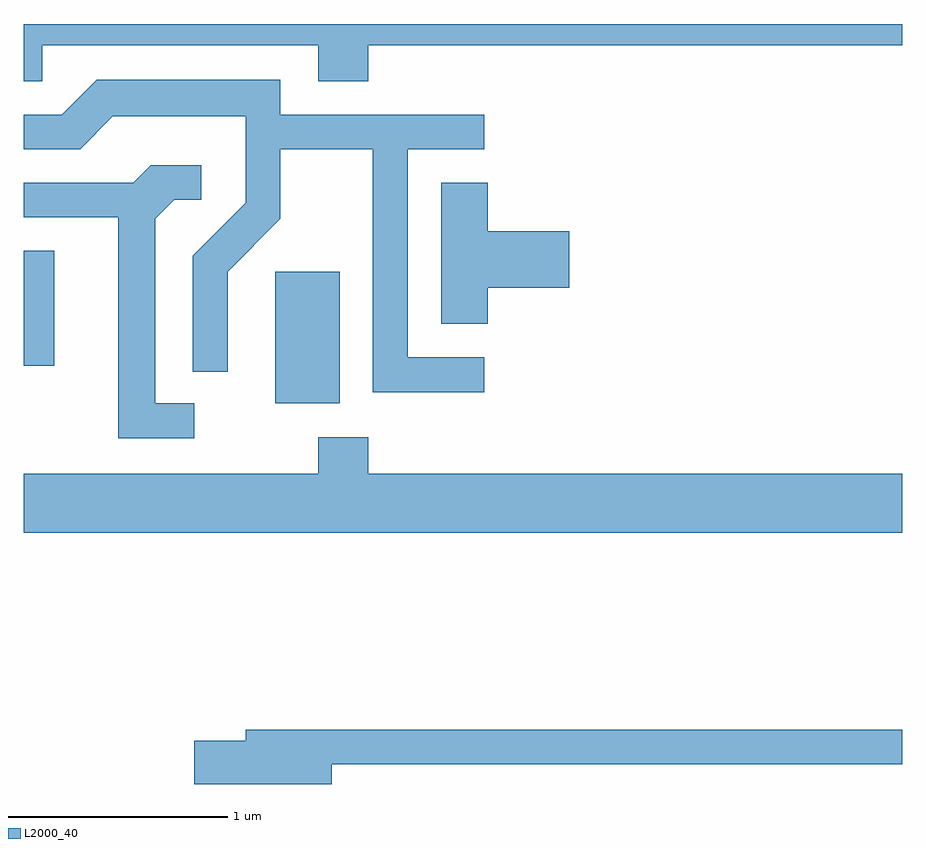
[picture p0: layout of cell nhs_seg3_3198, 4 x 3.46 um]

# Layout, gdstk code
import gdstk
lib = gdstk.Library(unit=1e-6, precision=1e-09)
def R(c, l, rs):  # rectangles x0, y0, x1, y1
    for r in rs: c.add(gdstk.rectangle(r[:2], r[2:], *l))
def P(c, l, *ps):  # polygons
    for p in ps: c.add(gdstk.Polygon(p, *l))
L2000_40 = (2000, 40)

nhs_seg3_3198 = lib.new_cell('nhs_seg3_3198')
R(nhs_seg3_3198, L2000_40, [(280.756,1122.166,281.049,1122.764), (279.611,1122.336,279.749,1122.859)])
P(nhs_seg3_3198, L2000_40, [(279.694,1123.796),(280.951,1123.796),(280.951,1123.631),(281.179,1123.631),(281.179,1123.796),(283.611,1123.796),(283.611,1123.892),(279.611,1123.892),(279.611,1123.631),(279.694,1123.631)],
  [(281.708,1122.374),(281.359,1122.374),(281.359,1123.321),(281.708,1123.321),(281.708,1123.479),(280.779,1123.479),(280.779,1123.639),(279.944,1123.639),(279.784,1123.479),(279.611,1123.479),(279.611,1123.321),(279.867,1123.321),(280.017,1123.471),(280.621,1123.471),(280.621,1123.077),(280.381,1122.837),(280.381,1122.308),(280.539,1122.308),(280.539,1122.764),(280.779,1123.004),(280.779,1123.321),(281.201,1123.321),(281.201,1122.216),(281.708,1122.216)],
  [(280.388,1122.164),(280.209,1122.164),(280.209,1123.004),(280.297,1123.091),(280.418,1123.091),(280.418,1123.249),(280.189,1123.249),(280.109,1123.169),(279.611,1123.169),(279.611,1123.011),(280.041,1123.011),(280.041,1122.006),(280.388,1122.006)],
  [(281.724,1122.691),(282.094,1122.691),(282.094,1122.949),(281.724,1122.949),(281.724,1123.169),(281.511,1123.169),(281.511,1122.526),(281.724,1122.526)],
  [(283.611,1121.844),(281.179,1121.844),(281.179,1122.009),(280.951,1122.009),(280.951,1121.844),(279.611,1121.844),(279.611,1121.576),(283.611,1121.576)],
  [(281.014,1120.521),(283.611,1120.521),(283.611,1120.679),(280.621,1120.679),(280.621,1120.629),(280.386,1120.629),(280.386,1120.431),(281.014,1120.431)])

lib.write_gds('nhs_seg3_3198.gds')
